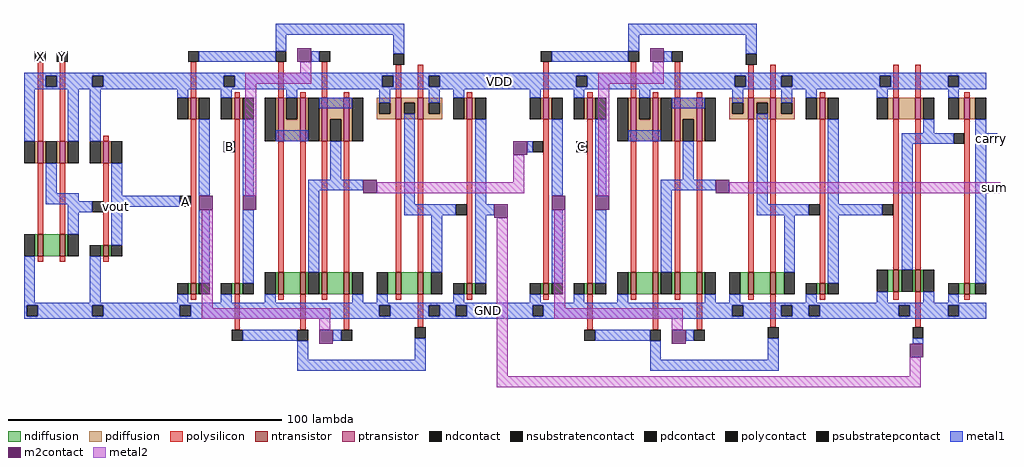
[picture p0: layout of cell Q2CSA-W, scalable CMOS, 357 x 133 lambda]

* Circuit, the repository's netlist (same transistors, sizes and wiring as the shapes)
* SPICE3 file created from CSA-W.ext - technology: scmos
.include bsim.txt
.option scale=0.09u

VDD vdd 0 dc 1.8

Vin_1 X 0 dc 1 pulse (0 1.8 190p 10p 10p 1000p 2000p)
Vin_2 Y 0 dc 1 pulse (0 1.8 190p 10p 10p 1000p 2000p)
Vin_3 B 0 dc 1 pulse (0 1.8 190p 10p 10p 1000p 2000p)
Vin_4 C 0 dc 1 pulse (0 1.8 190p 10p 10p 1000p 2000p)

M1000 VDD B a_79_89# Vdd pfet w=8 l=2
+  ad=872 pd=498 as=48 ps=28
M1001 GND a_105_25# a_261_26# Gnd nfet w=8 l=2
+  ad=564 pd=390 as=48 ps=28
M1002 a_105_25# a_79_89# VDD Vdd pfet w=8 l=2
+  ad=40 pd=26 as=0 ps=0
M1003 a_79_25# A GND Gnd nfet w=8 l=2
+  ad=48 pd=28 as=0 ps=0
M1004 carry a_261_26# VDD Vdd pfet w=8 l=2
+  ad=48 pd=28 as=0 ps=0
M1005 a_208_89# C a_208_25# Gnd nfet w=8 l=2
+  ad=56 pd=30 as=48 ps=28
M1006 a_n52_73# X VDD Vdd pfet w=8 l=2
+  ad=48 pd=28 as=0 ps=0
M1007 GND a_133_25# a_181_25# Gnd nfet w=8 l=2
+  ad=0 pd=0 as=48 ps=28
M1008 a_149_25# C GND Gnd nfet w=4 l=2
+  ad=20 pd=18 as=0 ps=0
M1009 a_158_81# a_133_25# sum Vdd pfet w=16 l=2
+  ad=256 pd=128 as=96 ps=44
M1010 a_234_25# a_208_89# GND Gnd nfet w=4 l=2
+  ad=20 pd=18 as=0 ps=0
M1011 a_4_25# A GND Gnd nfet w=4 l=2
+  ad=20 pd=18 as=0 ps=0
M1012 a_52_25# a_20_25# a_44_25# Gnd nfet w=8 l=2
+  ad=48 pd=28 as=48 ps=28
M1013 a_208_89# a_44_25# VDD Vdd pfet w=8 l=2
+  ad=48 pd=28 as=0 ps=0
M1014 sum C a_165_25# Gnd nfet w=8 l=2
+  ad=48 pd=28 as=48 ps=28
M1015 a_133_25# a_44_25# GND Gnd nfet w=4 l=2
+  ad=20 pd=18 as=0 ps=0
M1016 a_20_25# B VDD Vdd pfet w=8 l=2
+  ad=40 pd=26 as=0 ps=0
M1017 a_44_25# a_20_25# a_29_81# Vdd pfet w=16 l=2
+  ad=96 pd=44 as=256 ps=128
M1018 a_158_81# C VDD Vdd pfet w=16 l=2
+  ad=0 pd=0 as=0 ps=0
M1019 a_79_89# B a_79_25# Gnd nfet w=8 l=2
+  ad=56 pd=30 as=0 ps=0
M1020 a_n52_73# Y a_n52_39# Gnd nfet w=8 l=2
+  ad=40 pd=26 as=48 ps=28
M1021 a_105_25# a_79_89# GND Gnd nfet w=4 l=2
+  ad=20 pd=18 as=0 ps=0
M1022 carry a_261_26# GND Gnd nfet w=4 l=2
+  ad=24 pd=20 as=0 ps=0
M1023 a_36_25# A GND Gnd nfet w=8 l=2
+  ad=48 pd=28 as=0 ps=0
M1024 a_261_89# a_234_25# VDD Vdd pfet w=8 l=2
+  ad=48 pd=28 as=0 ps=0
M1025 VDD A a_29_81# Vdd pfet w=16 l=2
+  ad=0 pd=0 as=0 ps=0
M1026 a_79_89# A VDD Vdd pfet w=8 l=2
+  ad=0 pd=0 as=0 ps=0
M1027 a_261_26# a_234_25# GND Gnd nfet w=8 l=2
+  ad=0 pd=0 as=0 ps=0
M1028 A a_n52_73# GND Gnd nfet w=4 l=2
+  ad=20 pd=18 as=0 ps=0
M1029 VDD C a_208_89# Vdd pfet w=8 l=2
+  ad=0 pd=0 as=0 ps=0
M1030 a_208_25# a_44_25# GND Gnd nfet w=8 l=2
+  ad=0 pd=0 as=0 ps=0
M1031 VDD Y a_n52_73# Vdd pfet w=8 l=2
+  ad=0 pd=0 as=0 ps=0
M1032 a_149_25# C VDD Vdd pfet w=8 l=2
+  ad=40 pd=26 as=0 ps=0
M1033 GND a_4_25# a_52_25# Gnd nfet w=8 l=2
+  ad=0 pd=0 as=0 ps=0
M1034 a_181_25# a_149_25# sum Gnd nfet w=8 l=2
+  ad=0 pd=0 as=0 ps=0
M1035 a_20_25# B GND Gnd nfet w=4 l=2
+  ad=20 pd=18 as=0 ps=0
M1036 a_29_81# a_4_25# a_44_25# Vdd pfet w=16 l=2
+  ad=0 pd=0 as=0 ps=0
M1037 sum a_149_25# a_158_81# Vdd pfet w=16 l=2
+  ad=0 pd=0 as=0 ps=0
M1038 a_234_25# a_208_89# VDD Vdd pfet w=8 l=2
+  ad=40 pd=26 as=0 ps=0
M1039 a_4_25# A VDD Vdd pfet w=8 l=2
+  ad=40 pd=26 as=0 ps=0
M1040 a_n52_39# X GND Gnd nfet w=8 l=2
+  ad=0 pd=0 as=0 ps=0
M1041 a_133_25# a_44_25# VDD Vdd pfet w=8 l=2
+  ad=40 pd=26 as=0 ps=0
M1042 a_44_25# B a_36_25# Gnd nfet w=8 l=2
+  ad=0 pd=0 as=0 ps=0
M1043 a_261_26# a_105_25# a_261_89# Vdd pfet w=8 l=2
+  ad=40 pd=26 as=0 ps=0
M1044 a_165_25# a_44_25# GND Gnd nfet w=8 l=2
+  ad=0 pd=0 as=0 ps=0
M1045 A a_n52_73# VDD Vdd pfet w=8 l=2
+  ad=40 pd=26 as=0 ps=0
M1046 a_29_81# B VDD Vdd pfet w=16 l=2
+  ad=0 pd=0 as=0 ps=0
M1047 VDD a_44_25# a_158_81# Vdd pfet w=16 l=2
+  ad=0 pd=0 as=0 ps=0



.tran 1p 2n
.control
run
set xbrushwidth = 2
plot X Y+2 A+4 B+6 C+8 Sum+10 carry+12
.endc
.end

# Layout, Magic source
magic
tech scmos
<< polysilicon >>
rect -54 81 -52 110
rect -46 81 -44 110
rect 2 97 4 110
rect 18 97 20 99
rect 34 97 36 110
rect 42 97 44 99
rect 50 97 52 110
rect 58 97 60 99
rect 77 97 79 109
rect 85 97 87 109
rect 103 97 105 99
rect 131 97 133 110
rect 147 97 149 99
rect 163 97 165 110
rect 171 97 173 99
rect 179 97 181 110
rect 187 97 189 99
rect 206 97 208 109
rect 214 97 216 109
rect 232 97 234 99
rect 259 97 261 109
rect 267 97 269 109
rect 285 97 287 99
rect -30 81 -28 83
rect -54 47 -52 73
rect -46 47 -44 73
rect -30 43 -28 73
rect -54 37 -52 39
rect -46 37 -44 39
rect -30 37 -28 39
rect 2 29 4 89
rect 18 29 20 89
rect 34 33 36 81
rect 42 33 44 81
rect 50 33 52 81
rect 58 33 60 81
rect 77 33 79 89
rect 85 33 87 89
rect 103 29 105 89
rect 131 29 133 89
rect 147 29 149 89
rect 163 33 165 81
rect 171 33 173 81
rect 179 33 181 81
rect 187 33 189 81
rect 206 33 208 89
rect 214 33 216 89
rect 232 29 234 89
rect 259 34 261 89
rect 267 34 269 89
rect 285 29 287 89
rect 2 23 4 25
rect 18 12 20 25
rect 34 23 36 25
rect 42 12 44 25
rect 50 23 52 25
rect 58 12 60 25
rect 77 23 79 25
rect 85 13 87 25
rect 103 23 105 25
rect 131 23 133 25
rect 147 12 149 25
rect 163 23 165 25
rect 171 12 173 25
rect 179 23 181 25
rect 187 12 189 25
rect 206 23 208 25
rect 214 13 216 25
rect 232 23 234 25
rect 259 23 261 26
rect 267 13 269 26
rect 285 23 287 25
<< ndiffusion >>
rect -55 39 -54 47
rect -52 39 -46 47
rect -44 39 -43 47
rect -31 39 -30 43
rect -28 39 -27 43
rect 1 25 2 29
rect 4 25 5 29
rect 17 25 18 29
rect 20 25 21 29
rect 33 25 34 33
rect 36 25 42 33
rect 44 25 45 33
rect 49 25 50 33
rect 52 25 58 33
rect 60 25 61 33
rect 74 25 77 33
rect 79 25 85 33
rect 87 25 90 33
rect 102 25 103 29
rect 105 25 106 29
rect 130 25 131 29
rect 133 25 134 29
rect 146 25 147 29
rect 149 25 150 29
rect 162 25 163 33
rect 165 25 171 33
rect 173 25 174 33
rect 178 25 179 33
rect 181 25 187 33
rect 189 25 190 33
rect 203 25 206 33
rect 208 25 214 33
rect 216 25 219 33
rect 231 25 232 29
rect 234 25 235 29
rect 257 26 259 34
rect 261 26 262 34
rect 266 26 267 34
rect 269 26 270 34
rect 283 25 285 29
rect 287 25 289 29
<< pdiffusion >>
rect 1 89 2 97
rect 4 89 5 97
rect 17 89 18 97
rect 20 89 21 97
rect -55 73 -54 81
rect -52 73 -51 81
rect -47 73 -46 81
rect -44 73 -43 81
rect -31 73 -30 81
rect -28 73 -27 81
rect 33 81 34 97
rect 36 89 37 97
rect 41 89 42 97
rect 36 81 42 89
rect 44 81 45 97
rect 49 81 50 97
rect 52 89 58 97
rect 52 81 53 89
rect 57 81 58 89
rect 60 81 61 97
rect 70 95 77 97
rect 70 91 71 95
rect 75 91 77 95
rect 70 89 77 91
rect 79 95 85 97
rect 79 91 80 95
rect 84 91 85 95
rect 79 89 85 91
rect 87 95 94 97
rect 87 91 89 95
rect 93 91 94 95
rect 87 89 94 91
rect 102 89 103 97
rect 105 89 106 97
rect 130 89 131 97
rect 133 89 134 97
rect 146 89 147 97
rect 149 89 150 97
rect 162 81 163 97
rect 165 89 166 97
rect 170 89 171 97
rect 165 81 171 89
rect 173 81 174 97
rect 178 81 179 97
rect 181 89 187 97
rect 181 81 182 89
rect 186 81 187 89
rect 189 81 190 97
rect 199 95 206 97
rect 199 91 200 95
rect 204 91 206 95
rect 199 89 206 91
rect 208 95 214 97
rect 208 91 209 95
rect 213 91 214 95
rect 208 89 214 91
rect 216 95 223 97
rect 216 91 218 95
rect 222 91 223 95
rect 216 89 223 91
rect 231 89 232 97
rect 234 89 235 97
rect 257 89 259 97
rect 261 89 267 97
rect 269 89 270 97
rect 283 89 285 97
rect 287 89 289 97
<< metal1 >>
rect 33 120 80 124
rect 33 114 37 120
rect 5 110 33 114
rect 46 110 49 114
rect 76 113 80 120
rect 162 120 209 124
rect 162 114 166 120
rect 134 110 162 114
rect 175 110 178 114
rect 205 113 209 120
rect -59 105 293 106
rect -59 101 -51 105
rect -47 101 -34 105
rect -30 101 14 105
rect 18 101 72 105
rect 76 101 89 105
rect 93 101 143 105
rect 147 101 201 105
rect 205 101 218 105
rect 222 101 254 105
rect 258 101 279 105
rect 283 101 293 105
rect -59 100 293 101
rect -59 81 -55 100
rect -43 81 -39 100
rect -35 81 -31 100
rect -3 97 1 100
rect 13 97 17 100
rect 37 97 41 100
rect -51 62 -47 73
rect -51 59 -39 62
rect -27 61 -23 73
rect 5 61 9 89
rect 21 61 25 89
rect 33 81 45 85
rect 49 93 61 97
rect 71 95 75 100
rect 89 95 93 100
rect 98 97 102 100
rect 126 97 130 100
rect 142 97 146 100
rect 166 97 170 100
rect 53 67 57 81
rect 45 63 65 67
rect -51 58 -34 59
rect -43 55 -34 58
rect -27 57 -2 61
rect -43 47 -39 55
rect -27 43 -23 57
rect -59 22 -55 39
rect -35 22 -31 39
rect 5 29 9 56
rect 21 29 25 56
rect 45 33 49 63
rect 80 58 84 91
rect 106 58 110 89
rect 125 77 127 81
rect 134 61 138 89
rect 150 61 154 89
rect 162 81 174 85
rect 178 93 190 97
rect 200 95 204 100
rect 218 95 222 100
rect 227 97 231 100
rect 253 97 257 100
rect 279 97 283 100
rect 182 67 186 81
rect 174 63 194 67
rect 80 54 99 58
rect 106 54 113 58
rect 90 33 94 54
rect -3 22 1 25
rect 13 22 17 25
rect 29 22 33 25
rect 61 22 65 25
rect 106 29 110 54
rect 134 29 138 56
rect 150 29 154 56
rect 174 33 178 63
rect 209 58 213 91
rect 235 58 239 89
rect 270 84 274 89
rect 289 84 293 89
rect 262 80 281 84
rect 289 80 297 84
rect 209 54 228 58
rect 235 54 255 58
rect 219 33 223 54
rect 70 22 74 25
rect 98 22 102 25
rect 126 22 130 25
rect 142 22 146 25
rect 158 22 162 25
rect 190 22 194 25
rect 235 29 239 54
rect 262 34 266 80
rect 289 29 293 80
rect 199 22 203 25
rect 227 22 231 25
rect 253 22 257 26
rect 270 22 274 26
rect 279 22 283 25
rect -59 21 293 22
rect -59 17 -58 21
rect -54 17 -34 21
rect -30 17 -2 21
rect 2 17 71 21
rect 75 17 89 21
rect 93 17 99 21
rect 103 17 127 21
rect 131 17 200 21
rect 204 17 218 21
rect 222 17 228 21
rect 232 17 261 21
rect 265 17 279 21
rect 283 17 293 21
rect -59 16 293 17
rect 21 8 41 12
rect 41 1 45 8
rect 54 8 57 12
rect 84 1 88 9
rect 150 8 170 12
rect 41 -3 88 1
rect 170 1 174 8
rect 183 8 186 12
rect 213 1 217 9
rect 266 7 270 9
rect 170 -3 217 1
<< metal2 >>
rect 42 106 46 110
rect 171 106 175 110
rect 22 102 46 106
rect 151 102 175 106
rect 22 61 26 102
rect 120 66 124 76
rect 70 62 124 66
rect 151 61 155 102
rect 199 62 298 66
rect 6 20 10 56
rect 6 16 53 20
rect 49 12 53 16
rect 114 -5 118 53
rect 135 20 139 56
rect 135 16 182 20
rect 178 12 182 16
rect 265 -5 269 2
rect 114 -9 269 -5
<< ntransistor >>
rect -54 39 -52 47
rect -46 39 -44 47
rect -30 39 -28 43
rect 2 25 4 29
rect 18 25 20 29
rect 34 25 36 33
rect 42 25 44 33
rect 50 25 52 33
rect 58 25 60 33
rect 77 25 79 33
rect 85 25 87 33
rect 103 25 105 29
rect 131 25 133 29
rect 147 25 149 29
rect 163 25 165 33
rect 171 25 173 33
rect 179 25 181 33
rect 187 25 189 33
rect 206 25 208 33
rect 214 25 216 33
rect 232 25 234 29
rect 259 26 261 34
rect 267 26 269 34
rect 285 25 287 29
<< ptransistor >>
rect 2 89 4 97
rect 18 89 20 97
rect -54 73 -52 81
rect -46 73 -44 81
rect -30 73 -28 81
rect 34 81 36 97
rect 42 81 44 97
rect 50 81 52 97
rect 58 81 60 97
rect 77 89 79 97
rect 85 89 87 97
rect 103 89 105 97
rect 131 89 133 97
rect 147 89 149 97
rect 163 81 165 97
rect 171 81 173 97
rect 179 81 181 97
rect 187 81 189 97
rect 206 89 208 97
rect 214 89 216 97
rect 232 89 234 97
rect 259 89 261 97
rect 267 89 269 97
rect 285 89 287 97
<< polycontact >>
rect -55 110 -51 114
rect -47 110 -43 114
rect 1 110 5 114
rect 33 110 37 114
rect 49 110 53 114
rect 76 109 80 113
rect 130 110 134 114
rect 162 110 166 114
rect 178 110 182 114
rect 205 109 209 113
rect -34 55 -30 59
rect -2 57 2 61
rect 14 77 18 81
rect 99 54 103 58
rect 127 77 131 81
rect 143 77 147 81
rect 228 54 232 58
rect 255 54 259 58
rect 281 80 285 84
rect 17 8 21 12
rect 41 8 45 12
rect 57 8 61 12
rect 84 9 88 13
rect 146 8 150 12
rect 170 8 174 12
rect 186 8 190 12
rect 213 9 217 13
rect 266 9 270 13
<< ndcontact >>
rect -59 39 -55 47
rect -43 39 -39 47
rect -35 39 -31 43
rect -27 39 -23 43
rect -3 25 1 29
rect 5 25 9 29
rect 13 25 17 29
rect 21 25 25 29
rect 29 25 33 33
rect 45 25 49 33
rect 61 25 65 33
rect 70 25 74 33
rect 90 25 94 33
rect 98 25 102 29
rect 106 25 110 29
rect 126 25 130 29
rect 134 25 138 29
rect 142 25 146 29
rect 150 25 154 29
rect 158 25 162 33
rect 174 25 178 33
rect 190 25 194 33
rect 199 25 203 33
rect 219 25 223 33
rect 227 25 231 29
rect 235 25 239 29
rect 253 26 257 34
rect 262 26 266 34
rect 270 26 274 34
rect 279 25 283 29
rect 289 25 293 29
<< pdcontact >>
rect -3 89 1 97
rect 5 89 9 97
rect 13 89 17 97
rect 21 89 25 97
rect -59 73 -55 81
rect -51 73 -47 81
rect -43 73 -39 81
rect -35 73 -31 81
rect -27 73 -23 81
rect 29 81 33 97
rect 37 89 41 97
rect 45 81 49 97
rect 53 81 57 89
rect 61 81 65 97
rect 71 91 75 95
rect 80 91 84 95
rect 89 91 93 95
rect 98 89 102 97
rect 106 89 110 97
rect 126 89 130 97
rect 134 89 138 97
rect 142 89 146 97
rect 150 89 154 97
rect 158 81 162 97
rect 166 89 170 97
rect 174 81 178 97
rect 182 81 186 89
rect 190 81 194 97
rect 200 91 204 95
rect 209 91 213 95
rect 218 91 222 95
rect 227 89 231 97
rect 235 89 239 97
rect 253 89 257 97
rect 270 89 274 97
rect 279 89 283 97
rect 289 89 293 97
<< m2contact >>
rect 41 110 46 115
rect 170 110 175 115
rect 5 56 10 61
rect 21 56 26 61
rect 65 62 70 67
rect 120 76 125 81
rect 113 53 118 58
rect 134 56 139 61
rect 150 56 155 61
rect 194 62 199 67
rect 49 7 54 12
rect 178 7 183 12
rect 265 2 270 7
<< psubstratepcontact >>
rect -58 17 -54 21
rect -34 17 -30 21
rect -2 17 2 21
rect 71 17 75 21
rect 89 17 93 21
rect 99 17 103 21
rect 127 17 131 21
rect 200 17 204 21
rect 218 17 222 21
rect 228 17 232 21
rect 261 17 265 21
rect 279 17 283 21
<< nsubstratencontact >>
rect -51 101 -47 105
rect -34 101 -30 105
rect 14 101 18 105
rect 72 101 76 105
rect 89 101 93 105
rect 143 101 147 105
rect 201 101 205 105
rect 218 101 222 105
rect 254 101 258 105
rect 279 101 283 105
<< labels >>
rlabel metal1 -25 57 -25 57 7 vout
rlabel polycontact 16 79 16 79 1 B
rlabel polycontact 145 79 145 79 1 C
rlabel metal1 295 82 295 82 7 carry
rlabel metal2 296 64 296 64 7 sum
rlabel metal1 115 103 115 103 1 VDD
rlabel metal1 111 19 111 19 1 GND
rlabel polycontact 0 59 0 59 3 A
rlabel polycontact -45 112 -45 112 1 Y
rlabel polycontact -53 112 -53 112 1 X
<< end >>
